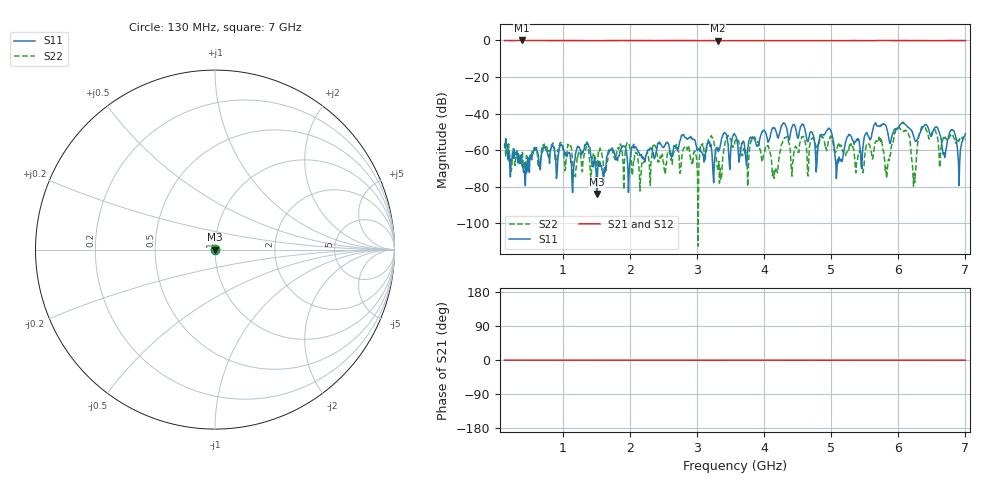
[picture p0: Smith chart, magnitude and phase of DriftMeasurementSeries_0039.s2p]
# Hz S RI R 50.000000
! Metas.Vna.Tools, 2.8.8664.20301
! Metas.Vna.Data, 2.8.8664.20285
! Created: UTC 2024.02.11 10:08:18
! FREQ  re:S1,1  im:S1,1  re:S2,1  im:S2,1  re:S1,2  im:S1,2  re:S2,2  im:S2,2
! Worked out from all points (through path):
!   801 points, 130 MHz to 7 GHz, reference 50 ohm
!   highest |S21| = 0.00 dB at 387.6 MHz (marker M1); lowest = -0.1 dB at 3.307 GHz (marker M2)
!   lowest |S11| = -84.0 dB at 1.504 GHz (marker M3), VSWR 1.00, Z = 50 - j0.00466 ohm
!   |S11| at or under -10 dB: start of sweep to end of sweep
!   |S22| runs from -112.6 to -47.1 dB; largest |S21 - S12| = 0.014
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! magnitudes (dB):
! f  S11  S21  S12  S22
! 130 MHz  -56.9  -0.1  0.0  -56.0
! 387.6 MHz  -67.9  0.0  0.0  -63.9
! 1.281 GHz  -62.1  0.0  0.0  -69.1
! 1.504 GHz  -84.0  -0.1  0.0  -71.6
! 2.423 GHz  -56.3  -0.1  0.0  -66.3
! 3.007 GHz  -60.3  -0.1  0.0  -73.7
! 3.204 GHz  -56.9  -0.1  0.0  -52.8
! 3.307 GHz  -58.5  -0.1  0.0  -70.5
! 3.565 GHz  -51.7  -0.1  0.0  -54.8
! 4.158 GHz  -47.9  -0.1  0.0  -71.1
! 4.312 GHz  -45.8  -0.1  0.0  -53.4
! 4.716 GHz  -50.2  -0.1  0.0  -53.5
! 4.973 GHz  -48.4  -0.1  0.0  -54.1
! 5.102 GHz  -67.1  -0.1  0.0  -57.2
! 5.265 GHz  -51.4  -0.1  0.0  -59.1
! 5.858 GHz  -53.3  0.0  0.0  -64.8
! 5.995 GHz  -48.1  0.0  0.0  -47.5
! 6.141 GHz  -47.5  0.0  0.0  -50.0
! 6.236 GHz  -53.2  -0.1  0.0  -72.5
! 6.365 GHz  -47.3  -0.1  0.0  -47.4
! 6.906 GHz  -79.3  0.0  0.0  -55.1
! 7 GHz  -51.1  -0.1  0.0  -54.5
